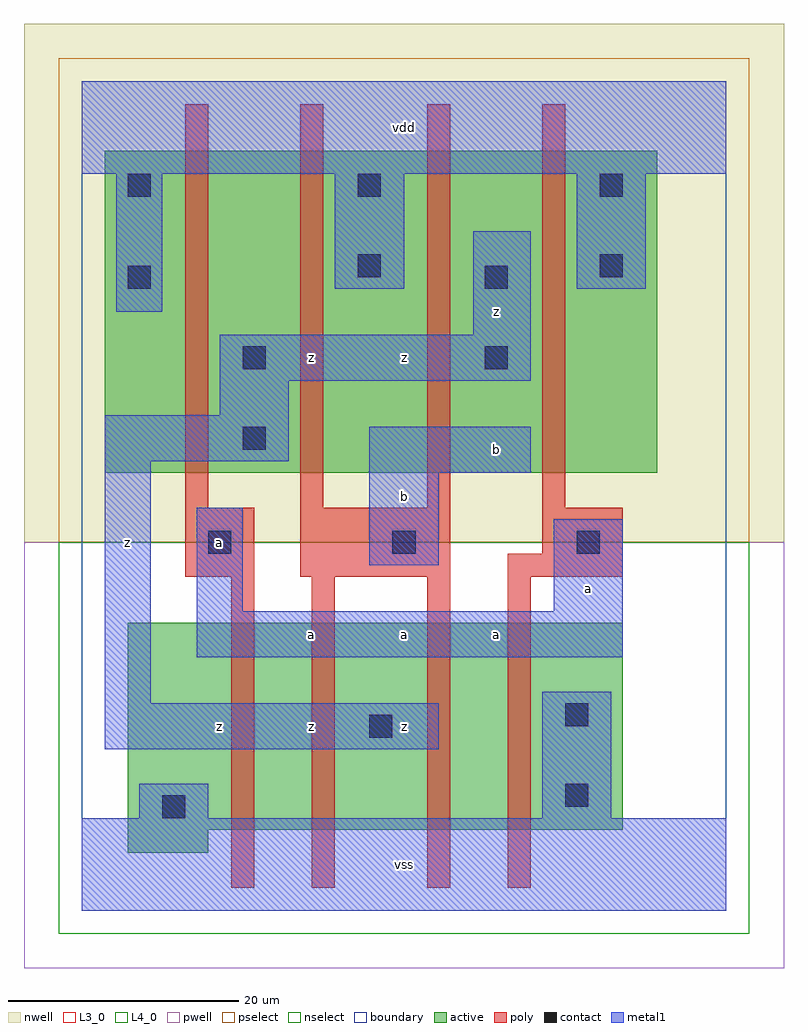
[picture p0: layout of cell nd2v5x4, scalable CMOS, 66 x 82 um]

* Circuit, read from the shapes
.subckt nd2v5x4 a b vdd vss z
M1 n1 a vss VSUBS nfet w=18u l=2u
M2 z b n1 VSUBS nfet w=18u l=2u
M3 n2 b z VSUBS nfet w=18u l=2u
M4 vss a n2 VSUBS nfet w=18u l=2u
M5 z a vdd n3 pfet w=28u l=2u m=2
M6 vdd b z n3 pfet w=28u l=2u m=2
.ends

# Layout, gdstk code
import gdstk
lib = gdstk.Library(unit=1e-6, precision=1e-09)
def R(c, l, rs):  # rectangles x0, y0, x1, y1
    for r in rs: c.add(gdstk.rectangle(r[:2], r[2:], *l))
def A(c, l, x, y, w, h, nx, ny, dx, dy):  # array of equal rectangles
    R(c, l, [(x+i*dx, y+j*dy, x+i*dx+w, y+j*dy+h) for i in range(nx) for j in range(ny)])
L3_0 = (3, 0)
L4_0 = (4, 0)
contact = (25, 0)
pwell = (41, 0)
nwell = (42, 0)
active = (43, 0)
pselect = (44, 0)
nselect = (45, 0)
poly = (46, 0)
metal1 = (49, 0)
boundary = (63, 0)

nd2v5x4 = lib.new_cell('nd2v5x4')
R(nd2v5x4, L3_0, [(4,5,11,7), (4,7,47,25)])
R(nd2v5x4, L4_0, [(2,38,50,66)])
A(nd2v5x4, contact, 11, 31, 2, 2, 3, 1, 16, 0)
R(nd2v5x4, contact, [(7,8,9,10), (42,9,44,11), (25,15,27,17), (42,16,44,18), (14,40,16,42), (14,47,16,49), (35,47,37,49), (4,54,6,56), (35,54,37,56), (24,55,26,57), (45,55,47,57), (4,62,6,64), (24,62,26,64), (45,62,47,64)])
R(nd2v5x4, pwell, [(-5,-5,61,32)])
R(nd2v5x4, nwell, [(-5,32,61,77)])
R(nd2v5x4, active, [(4,5,11,7), (4,7,47,25), (2,38,50,66)])
R(nd2v5x4, pselect, [(-2,32,58,74)])
R(nd2v5x4, nselect, [(-2,-2,58,32)])
R(nd2v5x4, poly, [(13,2,15,29), (20,2,22,29), (30,2,32,29), (37,2,39,29), (9,29,15,35), (19,29,32,35), (37,29,47,31), (40,31,47,35), (9,35,11,70), (19,35,21,70), (30,35,32,70), (40,35,42,70)])
R(nd2v5x4, metal1, [(0,0,56,8), (5,8,11,11), (40,8,46,19), (2,14,31,18), (2,18,6,39), (10,22,47,26), (10,26,14,35), (41,26,47,34), (25,30,31,38), (25,38,39,42), (2,39,18,43), (12,43,18,46), (12,46,39,50), (34,50,39,59), (3,52,7,64), (22,54,28,64), (43,54,49,64), (0,64,56,72)])
R(nd2v5x4, boundary, [(0,0,56,72)])
nd2v5x4.add(gdstk.Label('z', (4,32), layer=49, texttype=0))
nd2v5x4.add(gdstk.Label('z', (20,16), layer=49, texttype=0))
nd2v5x4.add(gdstk.Label('z', (12,16), layer=49, texttype=0))
nd2v5x4.add(gdstk.Label('a', (12,32), layer=49, texttype=0))
nd2v5x4.add(gdstk.Label('a', (20,24), layer=49, texttype=0))
nd2v5x4.add(gdstk.Label('z', (20,48), layer=49, texttype=0))
nd2v5x4.add(gdstk.Label('vss', (28,4), layer=49, texttype=0))
nd2v5x4.add(gdstk.Label('z', (28,16), layer=49, texttype=0))
nd2v5x4.add(gdstk.Label('a', (28,24), layer=49, texttype=0))
nd2v5x4.add(gdstk.Label('a', (36,24), layer=49, texttype=0))
nd2v5x4.add(gdstk.Label('b', (36,40), layer=49, texttype=0))
nd2v5x4.add(gdstk.Label('b', (28,36), layer=49, texttype=0))
nd2v5x4.add(gdstk.Label('z', (28,48), layer=49, texttype=0))
nd2v5x4.add(gdstk.Label('z', (36,52), layer=49, texttype=0))
nd2v5x4.add(gdstk.Label('vdd', (28,68), layer=49, texttype=0))
nd2v5x4.add(gdstk.Label('a', (44,28), layer=49, texttype=0))

lib.write_gds('nd2v5x4.gds')
